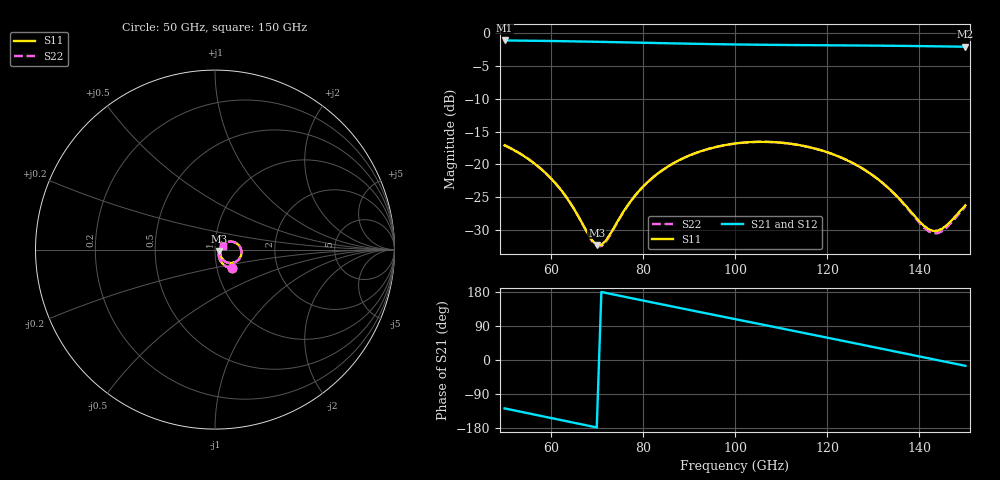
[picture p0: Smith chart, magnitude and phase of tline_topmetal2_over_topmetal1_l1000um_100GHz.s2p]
#  GHZ S DB R 50
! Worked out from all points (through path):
!   101 points, 50 GHz to 150 GHz, reference 50 ohm
!   highest |S21| = -1.12 dB at 50 GHz (marker M1); lowest = -2.1 dB at 150 GHz (marker M2)
!   group delay of S21, straight-line fit = 6.86 ps
!   lowest |S11| = -32.3 dB at 70 GHz (marker M3), VSWR 1.05, Z = 52.3 - j0.95 ohm
!   |S11| at or under -10 dB: start of sweep to end of sweep
!   |S22| runs from -32.5 to -16.6 dB; largest |S21 - S12| = 1.4e-13
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50  -17.09 -48.0  -1.12 -127.7  -1.12 -127.7  -17.08 -48.3
55  -19.11 -56.8  -1.15 -140.3  -1.15 -140.3  -19.10 -57.2
60  -22.09 -62.9  -1.20 -152.9  -1.20 -152.9  -22.08 -63.5
64  -25.61 -62.6  -1.24 -163.0  -1.24 -163.0  -25.61 -63.4
67  -29.19 -52.8  -1.28 -170.5  -1.28 -170.5  -29.23 -53.9
69  -31.59 -35.2  -1.31 -175.5  -1.31 -175.5  -31.71 -36.3
70  -32.28 -21.9  -1.32 -178.0  -1.32 -178.0  -32.44 -22.8
71  -32.28 -7.4  -1.33 179.5  -1.33 179.5  -32.46 -8.0
72  -31.61 5.6  -1.35 177.0  -1.35 177.0  -31.78 5.4
78  -25.02 33.1  -1.43 162.0  -1.43 162.0  -25.07 33.2
84  -21.00 29.6  -1.52 147.1  -1.52 147.1  -21.02 29.5
92  -18.13 16.8  -1.63 127.5  -1.63 127.5  -18.14 16.6
100  -16.82 1.8  -1.72 107.9  -1.72 107.9  -16.83 1.4
108  -16.60 -13.8  -1.79 88.4  -1.79 88.4  -16.60 -14.3
117  -17.53 -30.8  -1.84 66.3  -1.84 66.3  -17.53 -31.5
126  -19.96 -45.5  -1.88 44.1  -1.88 44.1  -19.96 -46.4
130  -21.72 -49.9  -1.90 34.2  -1.90 34.2  -21.73 -51.1
134  -24.06 -51.2  -1.93 24.3  -1.93 24.3  -24.10 -52.6
141  -29.35 -30.4  -1.98 6.9  -1.98 6.9  -29.62 -32.2
143  -30.13 -14.7  -2.00 2.0  -2.00 2.0  -30.50 -15.8
146  -29.23 9.0  -2.03 -5.5  -2.03 -5.5  -29.57 9.2
150  -26.23 24.8  -2.07 -15.4  -2.07 -15.4  -26.43 25.5
